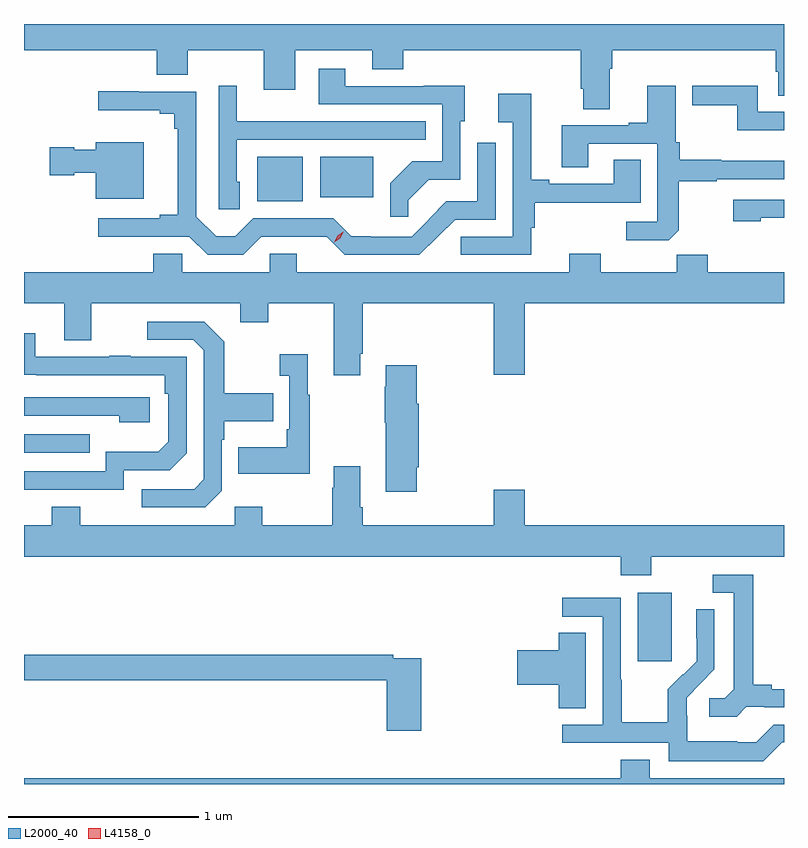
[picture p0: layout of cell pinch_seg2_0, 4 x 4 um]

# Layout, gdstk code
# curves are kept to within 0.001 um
import gdstk
lib = gdstk.Library(unit=1e-6, precision=1e-09)
def R(c, l, rs):  # rectangles x0, y0, x1, y1
    for r in rs: c.add(gdstk.rectangle(r[:2], r[2:], *l))
def P(c, l, *ps):  # polygons
    for p in ps: c.add(gdstk.Polygon(p, *l))
L2000_40 = (2000, 40)
L4158_0 = (4158, 0)

pinch_seg2_0 = lib.new_cell('pinch_seg2_0')
R(pinch_seg2_0, L2000_40, [(633.299,595.137,633.478,595.498), (630.068,596.235,630.413,596.331), (631.295,597.557,631.534,597.793), (631.628,597.578,631.906,597.793)])
P(pinch_seg2_0, L2000_40, [(633.151,598.256),(633.164,598.256),(633.164,598.352),(634.025,598.352),(634.025,598.239),(634.037,598.239),(634.037,598.114),(634.068,598.114),(634.068,598.491),(630.068,598.491),(630.068,598.352),(630.767,598.352),(630.767,598.224),(630.931,598.224),(630.931,598.352),(631.331,598.352),(631.331,598.146),(631.495,598.146),(631.495,598.352),(631.901,598.352),(631.901,598.253),(632.065,598.253),(632.065,598.352),(632.999,598.352),(632.999,598.15),(633.011,598.15),(633.011,598.042),(633.151,598.042)],
  [(632.09,597.564),(632.198,597.672),(632.364,597.672),(632.364,597.978),(632.389,597.978),(632.389,598.166),(632.171,598.166),(632.171,598.164),(631.759,598.164),(631.759,598.255),(631.619,598.255),(631.619,598.068),(632.268,598.068),(632.268,597.768),(632.111,597.768),(631.995,597.652),(631.995,597.477),(632.09,597.477)],
  [(634.068,598.029),(633.93,598.029),(633.93,598.166),(633.585,598.166),(633.585,598.063),(633.822,598.063),(633.822,597.932),(634.068,597.932)],
  [(633.513,597.405),(633.513,597.663),(633.713,597.663),(633.713,597.675),(634.068,597.675),(634.068,597.772),(633.737,597.772),(633.737,597.776),(633.518,597.776),(633.518,597.868),(633.498,597.868),(633.498,598.165),(633.347,598.165),(633.347,597.97),(633.251,597.97),(633.251,597.957),(632.897,597.957),(632.897,597.736),(633.037,597.736),(633.037,597.861),(633.402,597.861),(633.402,597.45),(633.237,597.45),(633.237,597.354),(633.461,597.354)],
  [(631.204,597.66),(631.188,597.66),(631.188,597.882),(632.183,597.882),(632.183,597.978),(631.523,597.978),(631.523,597.979),(631.189,597.979),(631.189,598.165),(631.092,598.165),(631.092,597.517),(631.204,597.517)],
  [(631.317,597.372),(631.661,597.371),(631.755,597.276),(632.149,597.276),(632.337,597.462),(632.55,597.462),(632.55,597.865),(632.454,597.865),(632.454,597.558),(632.291,597.558),(632.197,597.464),(632.199,597.462),(632.109,597.372),(631.894,597.372),(631.894,597.374),(631.79,597.374),(631.695,597.468),(631.275,597.468),(631.18,597.373),(631.079,597.373),(630.975,597.477),(630.975,598.134),(630.671,598.134),(630.671,598.136),(630.459,598.136),(630.459,598.037),(630.782,598.037),(630.782,598.018),(630.859,598.018),(630.859,597.941),(630.878,597.941),(630.878,597.488),(630.782,597.488),(630.782,597.468),(630.459,597.468),(630.459,597.371),(630.938,597.372),(631.034,597.276),(631.221,597.276)],
  [(632.738,597.419),(632.756,597.419),(632.756,597.55),(633.313,597.55),(633.313,597.776),(633.173,597.776),(633.173,597.651),(632.833,597.651),(632.833,597.671),(632.737,597.671),(632.737,598.123),(632.565,598.123),(632.565,597.974),(632.64,597.974),(632.64,597.372),(632.367,597.372),(632.367,597.276),(632.738,597.276)],
  [(630.697,597.868),(630.446,597.868),(630.446,597.829),(630.333,597.829),(630.333,597.842),(630.204,597.842),(630.204,597.695),(630.333,597.695),(630.333,597.707),(630.446,597.707),(630.446,597.572),(630.697,597.572)],
  [(633.945,597.471),(634.068,597.471),(634.068,597.567),(633.801,597.567),(633.801,597.452),(633.945,597.452)],
  [(631.837,596.755),(631.85,596.755),(631.85,597.02),(632.54,597.02),(632.54,596.646),(632.704,596.646),(632.704,597.02),(634.068,597.02),(634.068,597.184),(633.667,597.184),(633.667,597.277),(633.503,597.277),(633.503,597.184),(633.103,597.184),(633.103,597.283),(632.939,597.283),(632.939,597.184),(631.504,597.184),(631.504,597.282),(631.362,597.282),(631.362,597.184),(630.9,597.184),(630.9,597.282),(630.749,597.282),(630.749,597.184),(630.068,597.184),(630.068,597.02),(630.281,597.02),(630.281,596.826),(630.421,596.826),(630.421,597.02),(631.205,597.02),(631.205,596.921),(631.353,596.921),(631.353,597.02),(631.697,597.02),(631.697,596.643),(631.837,596.643)],
  [(631.11,596.034),(631.11,596.303),(631.123,596.303),(631.123,596.399),(631.379,596.399),(631.379,596.547),(631.123,596.547),(631.123,596.819),(631.017,596.925),(630.717,596.925),(630.717,596.829),(630.96,596.829),(631.014,596.775),(631.014,596.094),(630.963,596.043),(630.687,596.043),(630.687,595.947),(631.023,595.947)],
  [(630.594,596.142),(630.834,596.142),(630.924,596.232),(630.924,596.739),(630.629,596.739),(630.629,596.744),(630.517,596.744),(630.517,596.739),(630.127,596.739),(630.127,596.863),(630.068,596.863),(630.068,596.644),(630.808,596.643),(630.808,596.546),(630.828,596.546),(630.828,596.292),(630.775,596.239),(630.498,596.239),(630.498,596.136),(630.068,596.136),(630.068,596.04),(630.594,596.04)],
  [(631.573,596.539),(631.561,596.539),(631.561,596.752),(631.413,596.752),(631.413,596.639),(631.464,596.639),(631.464,596.359),(631.452,596.359),(631.452,596.263),(631.195,596.263),(631.195,596.123),(631.573,596.123)],
  [(632.136,596.157),(632.146,596.157),(632.146,596.493),(632.136,596.493),(632.136,596.695),(631.973,596.695),(631.973,596.582),(631.966,596.582),(631.966,596.393),(631.973,596.393),(631.973,596.028),(632.136,596.028)],
  [(630.73,596.526),(630.068,596.526),(630.068,596.43),(630.569,596.43),(630.569,596.396),(630.73,596.396)],
  [(633.369,595.688),(634.068,595.688),(634.068,595.852),(632.704,595.852),(632.704,596.041),(632.54,596.041),(632.54,595.852),(631.85,595.852),(631.85,595.948),(631.837,595.948),(631.837,596.164),(631.697,596.164),(631.697,596.051),(631.69,596.051),(631.69,595.852),(631.323,595.852),(631.323,595.951),(631.176,595.951),(631.176,595.852),(630.363,595.852),(630.363,595.951),(630.215,595.951),(630.215,595.852),(630.068,595.852),(630.068,595.688),(633.209,595.688),(633.209,595.589),(633.369,595.589)],
  [(633.87,594.897),(633.964,594.897),(633.964,594.894),(634.068,594.894),(634.068,594.99),(634.003,594.99),(634.003,595.013),(633.907,595.013),(633.907,595.593),(633.693,595.593),(633.693,595.497),(633.803,595.497),(633.803,594.989),(633.756,594.942),(633.675,594.942),(633.675,594.845),(633.818,594.845)],
  [(634.059,594.711),(634.068,594.711),(634.068,594.804),(634.014,594.804),(633.921,594.711),(633.821,594.711),(633.821,594.715),(633.558,594.715),(633.558,594.849),(633.556,594.849),(633.556,594.946),(633.702,595.094),(633.702,595.412),(633.606,595.412),(633.606,595.258),(633.608,595.258),(633.608,595.136),(633.537,595.065),(633.534,595.068),(633.457,594.991),(633.457,594.817),(633.213,594.817),(633.213,595.04),(633.21,595.04),(633.21,595.47),(632.901,595.47),(632.901,595.371),(633.114,595.371),(633.114,594.804),(632.901,594.804),(632.901,594.708),(633.462,594.708),(633.462,594.611),(633.959,594.611)],
  [(633.025,595.286),(632.882,595.286),(632.882,595.196),(632.664,595.196),(632.664,595.013),(632.882,595.013),(632.882,594.889),(633.025,594.889)],
  [(632.159,595.152),(632.012,595.152),(632.012,595.172),(630.068,595.172),(630.068,595.036),(631.976,595.036),(631.976,594.771),(632.159,594.771)],
  [(634.068,594.52),(633.361,594.52),(633.361,594.619),(633.209,594.619),(633.209,594.52),(630.068,594.52),(630.068,594.491),(634.068,594.491)])
P(pinch_seg2_0, L4158_0, [(631.702,597.343),(631.702,597.343),(631.718,597.377),(631.748,597.398),(631.749,597.398),(631.749,597.398),(631.733,597.364),(631.702,597.343)])

lib.write_gds('pinch_seg2_0.gds')
